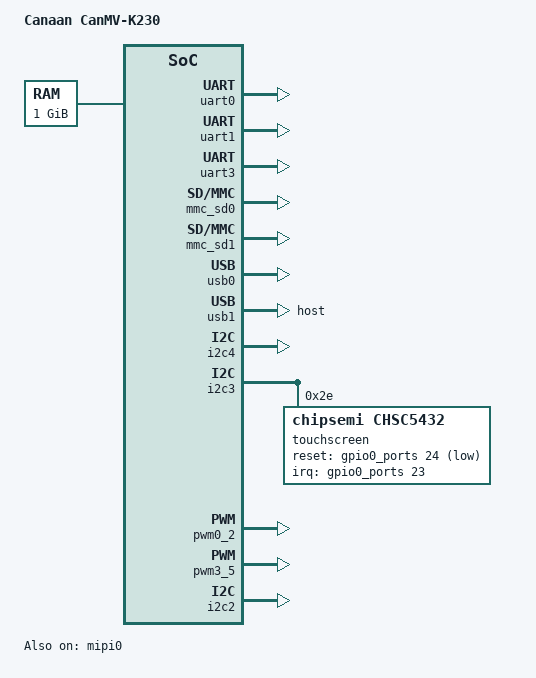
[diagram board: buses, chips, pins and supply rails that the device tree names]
// SPDX-License-Identifier: GPL-2.0 OR MIT
/*
 * Copyright (C) 2024 Yangyu Chen <cyy@cyyself.name>
 */

#include "k230.dtsi"
#include "display-st7701-480x800.dtsi"
#include <dt-bindings/input/input.h>

/
{
	model = "Canaan CanMV-K230";
	compatible = "canaan,canmv-k230", "canaan,kendryte-k230","k230_canmv_01studio";

	aliases {
		serial3 = &uart3;
		i2c3 = &i2c3;
		i2c4 = &i2c4;
		mmc0 = &mmc_sd0;
		mmc1 = &mmc_sd1;
	};

	chosen {
		stdout-path = "serial0:115200n8";
	};

	ddr: memory@0 {
		device_type = "memory";
		reg = <0x0 0x0 0x0 0x40000000>;
	};

	sound {
		status                      = "okay";
		compatible                  = "canaan,k230-audio-inno";
		canaan,model                = "K230_I2S_INNO";
		canaan,k230-i2s-controller  = <&i2s>;
		canaan,k230-audio-codec     = <&inno_codec>;
	};

};

&uart0 {
	status = "okay";
};
&uart1 {
	status = "okay";
};
&uart3 {
	status = "okay";
};
&mmc_sd0{
	status = "okay";
	no-1-8-v;
	cap-sd-highspeed;
	rx_delay_line = <0x0d>;
	tx_delay_line = <0xb0>;
	clocks = <&sd0_cclk_gate>,<&sd0_cclk_gate>;
	clock-names = "core", "bus";
};
&mmc_sd1{
	status = "okay";
	no-1-8-v;
	cap-sd-highspeed;
	mshc_ctrl_r = <0x00>;
};
&usb0 {
	status = "okay";
};
&usb1 {
	dr_mode = "host";
	status = "okay";
};


&i2c4
{
	status = "okay";
	pinctrl-names = "default";
	pinctrl-0 = <&i2c4_pins>;
};



&vo {
	vth_line = <10>;
};
/* CSI2 -> logical slot0 */
&mipi0 {
	/* CSI2 -> logical slot0 */
	id = <2>;
	reg = <0x0 0x9000a800 0x0 0x800>;
	interrupts = <121 IRQ_TYPE_LEVEL_HIGH>;
	resets = <&sysctl_reset K230_RESET_CSI2_REG_OFFSET K230_RESET_CSI2_TYPE
			  K230_RESET_CSI2_DONE_BIT K230_RESET_CSI2_ASSERT_BIT>,
		 <&sysctl_reset K230_RESET_M2_REG_OFFSET K230_RESET_M2_TYPE
			  K230_RESET_M2_DONE_BIT K230_RESET_M2_ASSERT_BIT>;
	reset-gpios = <&gpio0_ports 14 GPIO_ACTIVE_HIGH>; /* CSI2 reset, GPIO14 */
	pinctrl-names = "default";
	pinctrl-0 = <&cam2_mclk_pins &cam2_rst_pins>;
	status = "okay";
};

&v4l2isp {
	dev0-sensor-name = "bf3238";
	dev0-sensor-mode = <0>;
	dev0-sensor-i2c-bus = <4>; /* CSI2 */
	dev0-sensor-mclk-id = <0>; /* MCLK1 / GPIO13 */
	dev0-sensor-use-chip-clk = <1>;
};

&i2c3
{
	status = "okay";
	pinctrl-names = "default";
	pinctrl-0 = <&i2c3_pins>;

	touchscreen@2e
	{
		compatible = "chipsemi,chsc5432", "chipsemi,chsc_cap_touch";
		reg = <0x2e>;
		reset-gpios = <&gpio0_ports 24 GPIO_ACTIVE_LOW>;
		interrupt-parent = <&gpio0_ports>;
		interrupts = <23 IRQ_TYPE_EDGE_FALLING>;
		touchscreen-size-x = <480>;
		touchscreen-size-y = <800>;
	};
};

&lcd
{
	dsi_reset-gpios = <&gpio0_ports 22 GPIO_ACTIVE_HIGH>;
	backlight_gpio-gpios = <&gpio0_ports 25 GPIO_ACTIVE_HIGH>;
};

&iomux {
	pwm2_pins: pwm2_pins {
        pins = K230_IO46; //io46
        function = K230_IO46_PWM2;  // alt2
    };
	pwm3_pins: pwm3_pins {
		pins = K230_IO47; //io47
		function = K230_IO47_PWM3;
	};
	cam2_mclk_pins: cam2_mclk_pins {
		pins = K230_IO13;
		function = K230_IO13_M_CLK1;
	};
	cam2_rst_pins: cam2_rst_pins {
		pins = K230_IO14;
		function = K230_IO14_GPIO14;
	};
	i2c4_pins: i2c4_pins {
		pins = K230_IO7, K230_IO8;
		function = "alt2";
		bias-pull-up;
	};
	i2c3_pins: i2c3_pins {
		pins = K230_IO44, K230_IO45;
		function = "alt2";
		bias-pull-up;
	};
	i2c2_pins: i2c2_pins {
        pins = K230_IO11,K230_IO12;
        function = "alt3";
		bias-pull-up;
    };
};
&pwm0_2{
	status = "okay";
	pinctrl-names = "default";
    pinctrl-0 = <&pwm2_pins>;
};
&pwm3_5{
	status = "okay";
	pinctrl-names = "default";
	pinctrl-0 = <&pwm3_pins>;
};
&i2c2{
	status = "okay";
	pinctrl-names = "default";
    pinctrl-0 = <&i2c2_pins>;
};
